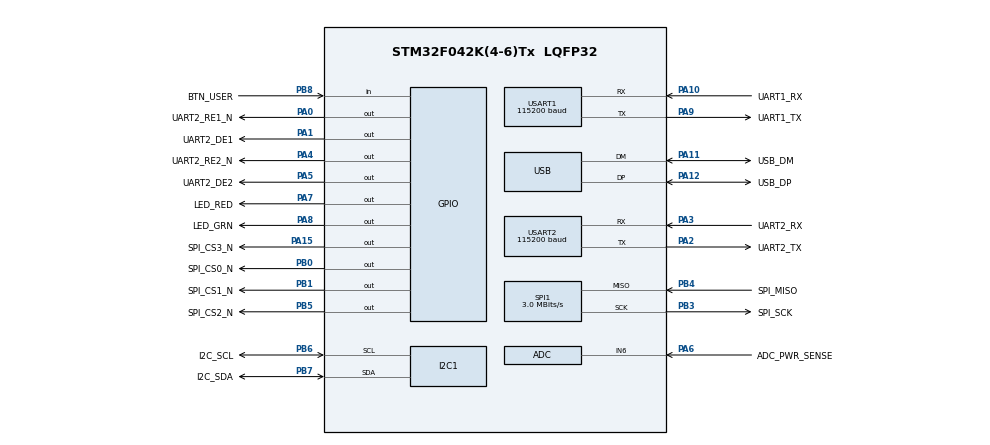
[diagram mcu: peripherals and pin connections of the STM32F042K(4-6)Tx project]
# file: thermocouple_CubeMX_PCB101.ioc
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ADC.SamplingTime=ADC_SAMPLETIME_55CYCLES_5
Dma.Request0=USART1_TX
Dma.USART1_TX.0.Direction=DMA_MEMORY_TO_PERIPH
Dma.USART1_TX.0.Instance=DMA1_Channel2
Dma.USART1_TX.0.MemDataAlignment=DMA_MDATAALIGN_BYTE
Dma.USART1_TX.0.MemInc=DMA_MINC_ENABLE
Dma.USART1_TX.0.Mode=DMA_NORMAL
Dma.USART1_TX.0.PeriphDataAlignment=DMA_PDATAALIGN_BYTE
Dma.USART1_TX.0.PeriphInc=DMA_PINC_DISABLE
Dma.USART1_TX.0.Priority=DMA_PRIORITY_MEDIUM
Mcu.Family=STM32F0
Mcu.Name=STM32F042K(4-6)Tx
Mcu.Package=LQFP32
NVIC.DMA1_Channel2_3_IRQn=true\:0\:0\:false\:false\:true\:false\:true
NVIC.I2C1_IRQn=true\:0\:0\:false\:false\:true\:true\:true
NVIC.USART1_IRQn=true\:0\:0\:false\:false\:true\:true\:true
NVIC.USART2_IRQn=true\:0\:0\:false\:true\:true\:1\:true\:true
PA0.GPIO_Label=UART2_RE1_N
PA0.GPIO_Speed=GPIO_SPEED_FREQ_MEDIUM
PA0.PinState=GPIO_PIN_SET
PA0.Signal=GPIO_Output
PA1.GPIO_Label=UART2_DE1
PA1.GPIO_Speed=GPIO_SPEED_FREQ_MEDIUM
PA1.Signal=GPIO_Output
PA10.GPIO_Label=UART1_RX
PA10.Mode=Asynchronous
PA10.Signal=USART1_RX
PA11.GPIO_Label=USB_DM
PA11.Mode=Device
PA11.Signal=USB_DM
PA12.GPIO_Label=USB_DP
PA12.Mode=Device
PA12.Signal=USB_DP
PA13.GPIO_Label=SWDIO
PA13.Mode=Serial_Wire
PA13.Signal=SYS_SWDIO
PA14.GPIO_Label=SWCLK
PA14.Mode=Serial_Wire
PA14.Signal=SYS_SWCLK
PA15.GPIO_Label=SPI_CS3_N
PA15.GPIO_Speed=GPIO_SPEED_FREQ_MEDIUM
PA15.PinState=GPIO_PIN_SET
PA15.Signal=GPIO_Output
PA2.GPIO_Label=UART2_TX
PA2.Mode=Asynchronous
PA2.Signal=USART2_TX
PA3.GPIO_Label=UART2_RX
PA3.Mode=Asynchronous
PA3.Signal=USART2_RX
PA4.GPIO_Label=UART2_RE2_N
PA4.GPIO_Speed=GPIO_SPEED_FREQ_MEDIUM
PA4.PinState=GPIO_PIN_SET
PA4.Signal=GPIO_Output
PA5.GPIO_Label=UART2_DE2
PA5.GPIO_Speed=GPIO_SPEED_FREQ_MEDIUM
PA5.Signal=GPIO_Output
PA6.GPIO_Label=ADC_PWR_SENSE
PA6.Mode=IN6
PA6.Signal=ADC_IN6
PA7.GPIO_Label=LED_RED
PA7.Signal=GPIO_Output
PA8.GPIO_Label=LED_GRN
PA8.Signal=GPIO_Output
PA9.GPIO_Label=UART1_TX
PA9.Mode=Asynchronous
PA9.Signal=USART1_TX
PB0.GPIO_Label=SPI_CS0_N
PB0.GPIO_Speed=GPIO_SPEED_FREQ_MEDIUM
PB0.PinState=GPIO_PIN_SET
PB0.Signal=GPIO_Output
PB1.GPIO_Label=SPI_CS1_N
PB1.GPIO_Speed=GPIO_SPEED_FREQ_MEDIUM
PB1.PinState=GPIO_PIN_SET
PB1.Signal=GPIO_Output
PB3.GPIO_Label=SPI_SCK
PB3.Mode=RX_Only_Simplex_Unidirect_Master
PB3.Signal=SPI1_SCK
PB4.GPIO_Label=SPI_MISO
PB4.Mode=RX_Only_Simplex_Unidirect_Master
PB4.Signal=SPI1_MISO
PB5.GPIO_Label=SPI_CS2_N
PB5.GPIO_Speed=GPIO_SPEED_FREQ_MEDIUM
PB5.PinState=GPIO_PIN_SET
PB5.Signal=GPIO_Output
PB6.GPIO_Label=I2C_SCL
PB6.GPIO_Pu=GPIO_PULLUP
PB6.Mode=I2C
PB6.Signal=I2C1_SCL
PB7.GPIO_Label=I2C_SDA
PB7.GPIO_Pu=GPIO_PULLUP
PB7.Mode=I2C
PB7.Signal=I2C1_SDA
PB8.GPIO_Label=BTN_USER
PB8.GPIO_PuPd=GPIO_NOPULL
PB8.Signal=GPIO_Input
PF0-OSC_IN.GPIO_Label=OSC_IN
PF0-OSC_IN.Mode=HSE-External-Oscillator
PF0-OSC_IN.Signal=RCC_OSC_IN
PF1-OSC_OUT.GPIO_Label=OSC_OUT
PF1-OSC_OUT.Mode=HSE-External-Oscillator
PF1-OSC_OUT.Signal=RCC_OSC_OUT
ProjectManager.HeapSize=0x200
ProjectManager.StackSize=0x400
ProjectManager.TargetToolchain=STM32CubeIDE
RCC.AHBFreq_Value=48000000
RCC.APB1Freq_Value=48000000
RCC.APB1TimFreq_Value=48000000
RCC.HCLKFreq_Value=48000000
RCC.SYSCLKFreq_VALUE=48000000
RCC.SYSCLKSource=RCC_SYSCLKSOURCE_HSI48
SPI1.BaudRatePrescaler=SPI_BAUDRATEPRESCALER_16
SPI1.CalculateBaudRate=3.0 MBits/s
SPI1.DataSize=SPI_DATASIZE_16BIT
SPI1.Direction=SPI_DIRECTION_2LINES_RXONLY
SPI1.Mode=SPI_MODE_MASTER
SPI1.NSSPMode=SPI_NSS_PULSE_DISABLE
SPI1.VirtualType=VM_MASTER
USART1.BaudRate=115200
USART1.VirtualMode-Asynchronous=VM_ASYNC
USART2.BaudRate=115200
USART2.VirtualMode-Asynchronous=VM_ASYNC
VP_TIM2_VS_ClockSourceINT.Mode=Internal
board=custom

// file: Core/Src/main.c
/* USER CODE BEGIN Header */
/**
  ******************************************************************************
  * @file           : main.c
  * @brief          : Main program body
  ******************************************************************************
  * @attention
  *
  * <h2><center>&copy; Copyright (c) 2021 STMicroelectronics.
  * All rights reserved.</center></h2>
  *
  * This software component is licensed by ST under BSD 3-Clause license,
  * the "License"; You may not use this file except in compliance with the
  * License. You may obtain a copy of the License at:
  *                        opensource.org/licenses/BSD-3-Clause
  *
  ******************************************************************************
  */
/* USER CODE END Header */
#include "main.h"
#include "adc.h"
#include "dma.h"
#include "i2c.h"
#include "spi.h"
#include "tim.h"
#include "usart.h"
//#include "app_usb.h"
#include "gpio.h"

/* USER CODE BEGIN Includes */

#include "eeprom.h"
#include <string.h>
#include <stdio.h>

/* USER CODE END Includes */

/* USER CODE BEGIN PV */

#define MSG_SIZE 64
//static char msg[MSG_SIZE];
#define BUFFER_SIZE 16
uint8_t buffer[BUFFER_SIZE];
#define LOBYTE(x)  (uint16_t)((x) & 0xFFFF)
#define HIBYTE(x)  (uint16_t)((x) >> 16)
/* USER CODE END PV */

void SystemClock_Config( void );
static void MX_NVIC_Init( void );
/* USER CODE BEGIN PFP */
void Delay_ms(uint32_t delay_ms);
void PrintQuarter( int16_t value );

/* USER CODE END PFP */

int main( void )
{
    /* USER CODE BEGIN 1 */
    int16_t i, j;				// general purpose counter
    uint16_t chan;				// SPI1 Channel #
    uint32_t n;					// raw value read from SPI MAX321855
    int16_t lo, hi;		        // high and low words of raw value (note: signed)
    uint16_t err[4];   			// error flags
    int16_t tc_temp[4];			// thermocouple temperature in deg C with 1 LSB = 1/4 dec C
    int16_t ref_temp[4];		// reference temperature in deg C with 1 LSB = 1/16 deg C
    uint32_t count;				// sample count
    HAL_StatusTypeDef status;	// return status

    /* USER CODE END 1 */

    /* MCU Configuration--------------------------------------------------------*/

    /* Reset of all peripherals, Initializes the Flash interface and the Systick. */
    HAL_Init( );

    /* Configure the system clock */
    SystemClock_Config( );

    /* Initialize all configured peripherals */
    MX_USART2_UART_Init();
    MX_GPIO_Init( );
    MX_ADC_Init( );
    MX_I2C1_Init( );
    MX_SPI1_Init( );
    MX_USART1_UART_Init();

    //  Local Loopback on Tx and Rx on #1
    //  HAL_GPIO_WritePin(UART2_DE1_GPIO_Port, UART2_DE1_Pin, GPIO_PIN_SET);
    //  HAL_GPIO_WritePin(UART2_RE1_N_GPIO_Port, UART2_RE1_N_Pin, GPIO_PIN_RESET);
    //  HAL_GPIO_WritePin(UART2_DE2_GPIO_Port, UART2_DE2_Pin, GPIO_PIN_RESET);
    //  HAL_GPIO_WritePin(UART2_RE2_N_GPIO_Port, UART2_RE2_N_Pin, GPIO_PIN_SET);

    //  Remote Loopback Tx on #1 and Rx on #2
    HAL_GPIO_WritePin( UART2_DE1_GPIO_Port, UART2_DE1_Pin, GPIO_PIN_SET );
    HAL_GPIO_WritePin( UART2_RE1_N_GPIO_Port, UART2_RE1_N_Pin, GPIO_PIN_SET );
    HAL_GPIO_WritePin( UART2_DE2_GPIO_Port, UART2_DE2_Pin, GPIO_PIN_RESET );
    HAL_GPIO_WritePin( UART2_RE2_N_GPIO_Port, UART2_RE2_N_Pin, GPIO_PIN_RESET );

    //MX_USB_PCD_Init();
    MX_DMA_Init();
    MX_TIM2_Init();
    HAL_TIM_Base_Start(&htim2);

    /* Initialize interrupts */
    MX_NVIC_Init( );

    /* USER CODE BEGIN 2 */

    printf( "\r\nHello World.\r\n" );

    printf( "Build: %s %s\r\n", __DATE__, __TIME__ );

    /* USER CODE END 2 */

    /* Infinite loop */
    /* USER CODE BEGIN WHILE */

    /* turn on Red LED */
    HAL_GPIO_WritePin( LED_RED_GPIO_Port, LED_RED_Pin, GPIO_PIN_SET );

    /* Display the MAC Address from the MAC48 EEPROM */
    EEPROM_ReadMac48( );
    printf("MAC: " );
    for ( i = 0; i < 6; i++ )
    {
        if ( i ) printf(":");
        printf( "%02X", EEPROM_buffer[i] );
    }
    printf("\r\n" );

    /* Display the 128-bit Serial Number from MAC48 EEPROM */
    EEPROM_ReadSN128( );
    printf( "SN: " );
    for ( i = 0; i < 16; i++ )
    {
        printf( "%02X", EEPROM_buffer[i] );
    }
    printf( "\r\n" );

#if 0
	/* Display the MCU's unique ID as hex */
	printf( "MCU ID: ");
	for (i=11; i>=0; i--)
	{
		uint8_t reg = READ_REG(*(   (uint8_t *)(UID_BASE + i) ) );
		printf( "%02X", (int)reg );
	}
	printf("\r\n");

	/* Display the MCU's unique ID as text */
	printf("MCU ID: '");
	for (i=11; i>=0; i--)
	{
		uint8_t reg = READ_REG(*( (uint8_t *)(UID_BASE + i) ));
		if (i > 4)
		{
			printf("%c", (char)reg );
		}
		else
		{
			printf("%02X", (int)reg );
		}
	}
	printf("'\r\n");
#endif

    /* Display the MCU's unique ID as hex string */
    printf( "MCU ID: %08lX%08lX%08lX\r\n", HAL_GetUIDw2( ), HAL_GetUIDw1( ),
            HAL_GetUIDw0( ) );

    /* display blocks 0 to 15 */
    for ( j = 0; j < 15; j++ )
    {
        status = EEPROM_ReadBlock( j );
        if ( HAL_OK != status )
        {
            printf( "Read Status: %d\r\n", (int) status );
        }
        printf( "BLK[%02X]: ", j );
        for ( i = 0; i < 16; i++ )
        {
            printf( "%02X", EEPROM_buffer[i] );
        }
        printf( "\r\n" );
    }

    /* turn off Red LED */
    HAL_GPIO_WritePin( LED_RED_GPIO_Port, LED_RED_Pin, GPIO_PIN_RESET );

    count = 0;
    while ( 1 )
    {
        count++;

        /* turn on Green LED */
        HAL_GPIO_WritePin( LED_GRN_GPIO_Port, LED_GRN_Pin, GPIO_PIN_SET );

        uint32_t start = htim2.Instance->CNT;

        for ( chan = 0; chan < 4; chan++ )
        {
            n = SPI_Read32( chan );

            lo = n & 0xFFFF;
            hi = n >> 16;

            err[chan] = n & 0x07;
            if ( err[chan] )
            {
                tc_temp[chan] = 0;
            }
            else
            {
                /* Note: use hi/4, not hi>>2, because >> may not sign extend */
                tc_temp[chan] = ((int16_t)hi / 4);  // 14-bit,  1 LSB = 1/4 degree C
            }

            /* Note: use lo/16, not lo>>4, because >> may not sign extend */
            ref_temp[chan] = ( (int16_t)lo /16 );   // 12-bit, 1 LSB = 1/16 degree C
        }

        uint32_t finish = htim2.Instance->CNT;

#if 1
        printf( "Start: %lu\r\n", start);
        printf( "End:   %lu\r\n", finish);
        printf( "Delta: %lu\r\n", finish - start);

        /*
         * This loop takes 3608 ticks of 48MHz = 75.167 uSec
         */

        for ( chan = 0; chan < 4; chan++ )
        {
		  //sprintf(msg, "%d: %04X %04X %1d %d %d\r\n", chan, hi, lo, err[chan], ref_temp[chan], tc_temp[chan]);
          printf("%d: %04X_%04X,%1d,", chan, hi, lo, err[chan]);
          PrintQuarter(ref_temp[chan]/4);
          printf(",");
          PrintQuarter(tc_temp[chan]);
          if (chan == 3) printf("\r\n");
        }
#endif

#if 0
        printf( "%06ld,", count );

        for ( chan = 0; chan < 4; chan++ )
        {
            printf( "%1d,", err[chan] );
        }

        for ( chan = 0; chan < 4; chan++ )
        {
            printf( "%d,", ref_temp[chan] );
        }

        for ( chan = 0; chan < 4; chan++ )
        {
            printf( "%6d,", tc_temp[chan] );
        }

        printf( "\r\n" );
#endif

        /* turn off Green LED */
        HAL_GPIO_WritePin( LED_GRN_GPIO_Port, LED_GRN_Pin, GPIO_PIN_RESET );

        /* wait a little bit */
        Delay_ms(2000);

        /* USER CODE END WHILE */

    }
}

void SystemClock_Config( void )
{
  RCC_OscInitTypeDef RCC_OscInitStruct = {0};
  RCC_ClkInitTypeDef RCC_ClkInitStruct = {0};
  RCC_PeriphCLKInitTypeDef PeriphClkInit = {0};

    /** Initializes the RCC Oscillators according to the specified parameters
     * in the RCC_OscInitTypeDef structure.
     */
  RCC_OscInitStruct.OscillatorType = RCC_OSCILLATORTYPE_HSI|RCC_OSCILLATORTYPE_HSI14
                              |RCC_OSCILLATORTYPE_HSI48;
    RCC_OscInitStruct.HSIState = RCC_HSI_ON;
    RCC_OscInitStruct.HSI48State = RCC_HSI48_ON;
    RCC_OscInitStruct.HSI14State = RCC_HSI14_ON;
    RCC_OscInitStruct.HSICalibrationValue = RCC_HSICALIBRATION_DEFAULT;
    RCC_OscInitStruct.HSI14CalibrationValue = 16;
    RCC_OscInitStruct.PLL.PLLState = RCC_PLL_NONE;
    if ( HAL_RCC_OscConfig( &RCC_OscInitStruct ) != HAL_OK )
    {
        Error_Handler( );
    }
    /** Initializes the CPU, AHB and APB buses clocks
     */
    RCC_ClkInitStruct.ClockType = RCC_CLOCKTYPE_HCLK | RCC_CLOCKTYPE_SYSCLK
            | RCC_CLOCKTYPE_PCLK1;
    RCC_ClkInitStruct.SYSCLKSource = RCC_SYSCLKSOURCE_HSI48;
    RCC_ClkInitStruct.AHBCLKDivider = RCC_SYSCLK_DIV1;
    RCC_ClkInitStruct.APB1CLKDivider = RCC_HCLK_DIV1;

    if ( HAL_RCC_ClockConfig( &RCC_ClkInitStruct, FLASH_LATENCY_1 ) != HAL_OK )
    {
        Error_Handler( );
    }
  PeriphClkInit.PeriphClockSelection = RCC_PERIPHCLK_USB|RCC_PERIPHCLK_USART1
                              |RCC_PERIPHCLK_I2C1;
    PeriphClkInit.Usart1ClockSelection = RCC_USART1CLKSOURCE_PCLK1;
    PeriphClkInit.I2c1ClockSelection = RCC_I2C1CLKSOURCE_HSI;
    PeriphClkInit.UsbClockSelection = RCC_USBCLKSOURCE_HSI48;

    if ( HAL_RCCEx_PeriphCLKConfig( &PeriphClkInit ) != HAL_OK )
    {
        Error_Handler( );
    }
}

/**
 * @brief NVIC Configuration.
 * @retval None
 */
static void MX_NVIC_Init( void )
{
    /* USART2_IRQn interrupt configuration */
    HAL_NVIC_SetPriority( USART2_IRQn, 0, 0 );
    HAL_NVIC_EnableIRQ( USART2_IRQn );
    /* USART1_IRQn interrupt configuration */
    HAL_NVIC_SetPriority( USART1_IRQn, 0, 0 );
    HAL_NVIC_EnableIRQ( USART1_IRQn );
}

/* USER CODE BEGIN 4 */

/**
 * Delay using a spin wait for the specified number of milliseconds.
 * Timing is based off the SysTick timer.
 */
void Delay_ms(uint32_t delay_ms)
{
    /*  Handles SysTick roll-over: https://stackoverflow.com/questions/61443/  */
    uint32_t start_time_ms = HAL_GetTick();
    while ( (HAL_GetTick() - start_time_ms) < delay_ms)
    {
        // spin wait
    }

    return;
}

/**
 * Prints an integer value divided by 4.
 */
void PrintQuarter( int16_t value )
{
    // TODO: This probably does not work for negative values

    printf( "%d", (uint16_t) (value/4) );
    switch (value & 3)
    {
        case 0:
            printf( ".00" );
            break;
        case 1:
            printf( ".25" );
            break;
        case 2:
            printf( ".50" );
            break;
        case 3:
            printf( ".75" );
            break;
    }
}

/* USER CODE END 4 */

void Error_Handler( void )
{
    /* USER CODE BEGIN Error_Handler_Debug */
    /* User can add his own implementation to report the HAL error return state */
    __disable_irq( );
    while ( 1 )
    {
    }
    /* USER CODE END Error_Handler_Debug */
}

/************************ (C) COPYRIGHT STMicroelectronics *****END OF FILE****/
